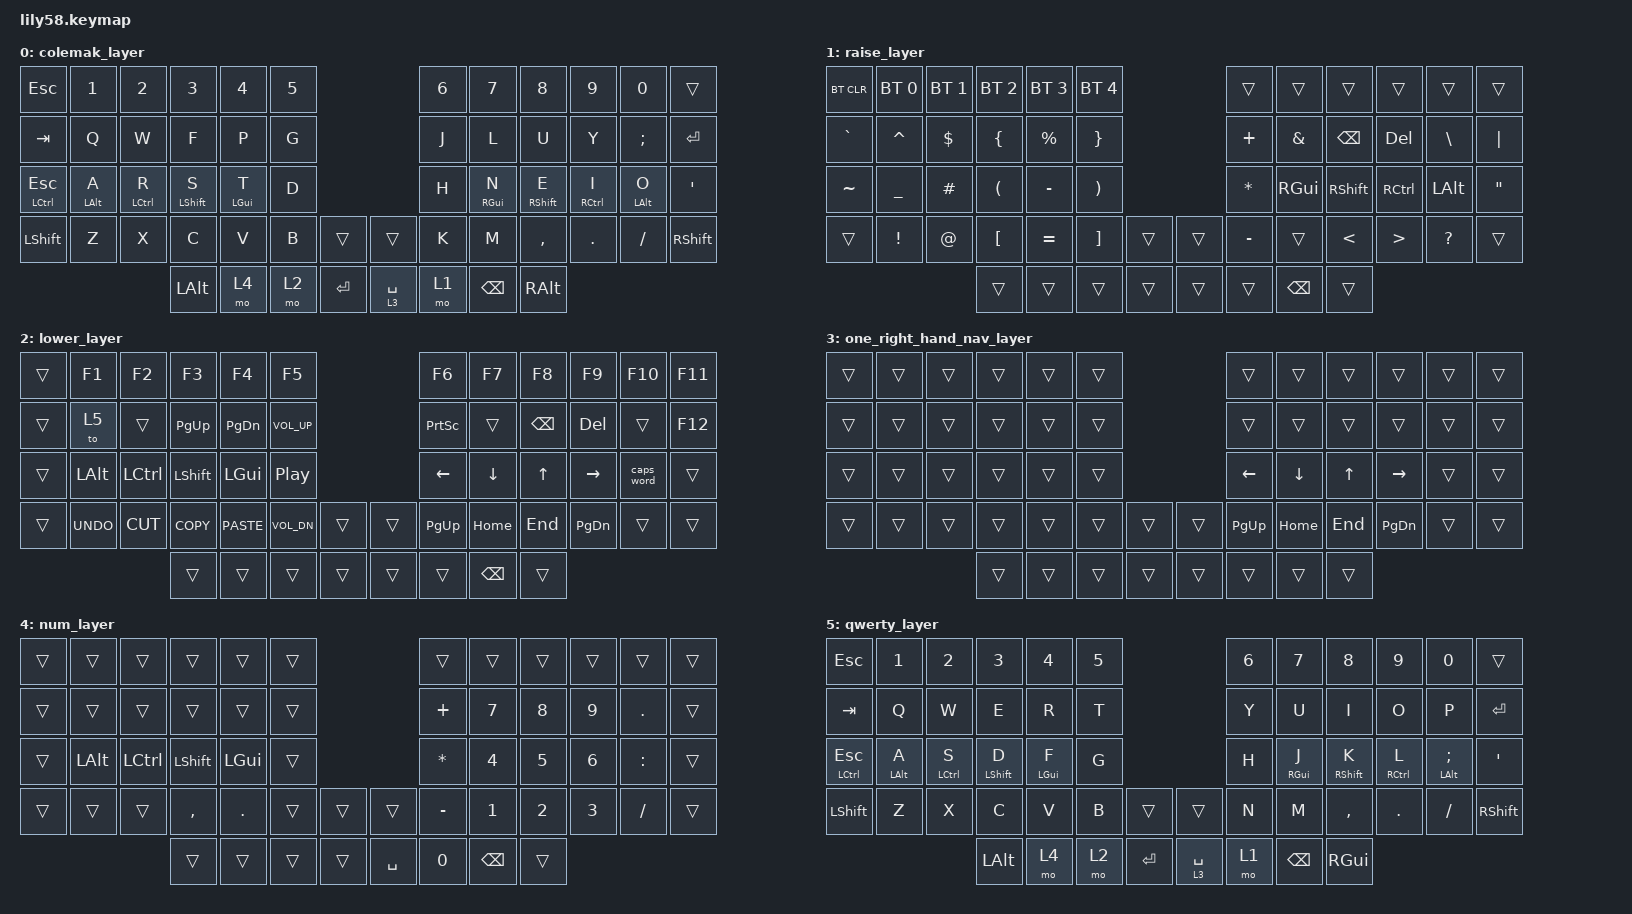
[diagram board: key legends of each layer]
/*
 * Copyright (c) 2020 The ZMK Contributors
 *
 * SPDX-License-Identifier: MIT
 */

#include <behaviors.dtsi>
#include <dt-bindings/zmk/keys.h>
#include <dt-bindings/zmk/bt.h>
#include <dt-bindings/zmk/ext_power.h>

/ {
    combos {
        compatible = "zmk,combos";
        combo_esc {
            timeout-ms = <50>;
            key-positions = <31 32>;  // <J K>
            bindings = <&kp ESC>;
        };
    };
};

/ {
    behaviors {
        hm: balanced_homerow_mods {
            compatible = "zmk,behavior-hold-tap";
            label = "HOMEROW_MODS";
            #binding-cells = <2>;
            tapping-term-ms = <200>;    // <---[[moderate duration]]
            quick-tap-ms = <200>;
            flavor = "balanced";
            bindings = <&kp>, <&kp>;
        };
    };
	keymap {
		compatible = "zmk,keymap";

		colemak_layer {
// ------------------------------------------------------------------------------------------------------------
// |  ESC  |  1  |  2  |  3   |  4   |  5   |                   |  6   |  7    |  8    |  9   |   0   |   `   |
// |  TAB  |  Q  |  W  |  F   |  P   |  G   |                   |  J   |  L    |  U    |  Y   |   ;   |   -   |
// |  CAPS |  A  |  R  |  S   |  T   |  D   |                   |  H   |  N    |  E    |  I   |   O   |   '   |
// | SHIFT |  Z  |  X  |  C   |  V   |  B   |   "["  |  |  "]"  |  K   |  M    |  ,    |  .   |   /   | SHIFT |
//                     | GUI  | ALT  | LOWER|  ENTER |  | SPACE | RAISE| BSPC  | GUI   |

			bindings = <
&kp ESC      &kp N1     &kp N2     &kp N3      &kp N4     &kp N5                   &kp N6 &kp N7     &kp N8      &kp N9     &kp N0        &trans
&kp TAB      &kp Q      &kp W      &kp F       &kp P      &kp G                    &kp J  &kp L      &kp U       &kp Y      &kp SEMI      &kp RET
&mt LCTL ESC &hm LALT A &hm LCTL R &hm LSHFT S &hm LGUI T &kp D                    &kp H  &hm RGUI N &hm RSHFT E &hm RCTL I &hm LALT O    &kp SQT
&kp LSHFT    &kp Z      &kp X      &kp C       &kp V      &kp B &trans   &trans    &kp K  &kp M      &kp COMMA   &kp DOT    &kp FSLH      &kp RSHFT
                                   &kp LALT    &mo 4   &mo 2 &kp ENTER &lt 3 SPACE &mo 1  &kp BSPC   &kp RALT
			>;
		};

// symbols layer
		raise_layer {
			bindings = <
&bt BT_CLR &bt BT_SEL 0   &bt BT_SEL 1  &bt BT_SEL 2  &bt BT_SEL 3 &bt BT_SEL 4 &trans    &trans   &trans &trans &trans &trans
&kp GRAVE  &kp CARET  &kp DOLLAR  &kp LBRC  &kp PRCNT  &kp RBRC                 &kp PLUS  &kp AMPS &kp BSPC  &kp DEL  &kp BSLH  &kp PIPE
&kp TILDE  &kp UNDER  &kp HASH    &kp LPAR  &kp MINUS  &kp RPAR                 &kp STAR  &kp RGUI &kp RSHFT &kp RCTL &kp LALT  &kp DQT
&trans     &kp EXCL   &kp AT      &kp LBKT  &kp EQUAL  &kp RBKT  &trans &trans  &kp MINUS &trans   &kp LT    &kp GT   &kp QMARK &trans
                                  &trans    &trans     &trans    &trans &trans  &trans    &kp BSPC &trans
			>;
		};

// nav layer
		lower_layer {
			bindings = <
&trans &kp F1     &kp F2    &kp F3     &kp F4      &kp F5                         &kp F6    &kp F7    &kp F8    &kp F9    &kp F10    &kp F11
&trans &to 5      &trans    &kp PG_UP  &kp PG_DN   &kp C_VOL_UP                   &kp PSCRN &trans    &kp BSPC  &kp DEL   &trans     &kp F12
&trans &kp LALT   &kp LCTL  &kp LSHFT  &kp LGUI    &kp C_PLAY_PAUSE               &kp LEFT  &kp DOWN  &kp UP    &kp RIGHT &caps_word &trans
&trans &kp K_UNDO &kp K_CUT &kp K_COPY &kp K_PASTE &kp C_VOL_DN     &trans &trans &kp PG_UP &kp HOME  &kp END   &kp PG_DN &trans     &trans
                            &trans     &trans      &trans &trans    &trans &trans    &kp BSPC  &trans
			>;
		};

		one_right_hand_nav_layer {
			bindings = <
&trans &trans &trans &trans &trans &trans                &trans    &trans   &trans  &trans    &trans &trans
&trans &trans &trans &trans &trans &trans                &trans    &trans   &trans  &trans    &trans &trans
&trans &trans &trans &trans &trans &trans                &kp LEFT  &kp DOWN &kp UP  &kp RIGHT &trans &trans
&trans &trans &trans &trans &trans &trans  &trans &trans &kp PG_UP &kp HOME &kp END &kp PG_DN &trans &trans
                     &trans &trans &trans  &trans &trans &trans    &trans   &trans
			>;

		};

		num_layer {
			bindings = <
&trans &trans   &trans   &trans    &trans   &trans                   &trans    &trans   &trans &trans &trans &trans
&trans &trans   &trans   &trans    &trans   &trans                   &kp PLUS  &kp N7   &kp N8 &kp N9 &kp DOT   &trans
&trans &kp LALT &kp LCTL &kp LSHFT &kp LGUI &trans                   &kp STAR  &kp N4   &kp N5 &kp N6 &kp COLON &trans
&trans &trans   &trans   &kp COMMA &kp DOT  &trans  &trans &trans    &kp MINUS &kp N1   &kp N2 &kp N3 &kp FSLH  &trans
                         &trans    &trans   &trans  &trans &kp SPACE &kp N0    &kp BSPC &trans
// TODO same finger bigram if followed by enter
			>;
		};

		qwerty_layer {
// ------------------------------------------------------------------------------------------------------------
// |  ESC  |  1  |  2  |  3   |  4   |  5   |                   |  6   |  7    |  8    |  9   |   0   |   `   |
// |  TAB  |  Q  |  W  |  E   |  R   |  T   |                   |  Y   |  U    |  I    |  O   |   P   |   -   |
// |  CAPS |  A  |  S  |  D   |  F   |  G   |                   |  H   |  J    |  K    |  L   |   ;   |   '   |
// | SHIFT |  Z  |  X  |  C   |  V   |  B   |   "["  |  |  "]"  |  N   |  M    |  ,    |  .   |   /   | SHIFT |
//                     | GUI  | ALT  | LOWER|  ENTER |  | SPACE | RAISE| BSPC  | GUI   |

			bindings = <
&kp ESC      &kp N1     &kp N2     &kp N3      &kp N4     &kp N5                   &kp N6 &kp N7     &kp N8      &kp N9     &kp N0        &trans
&kp TAB      &kp Q      &kp W      &kp E       &kp R      &kp T                    &kp Y  &kp U      &kp I       &kp O      &kp P         &kp RET
&mt LCTL ESC &hm LALT A &hm LCTL S &hm LSHFT D &hm LGUI F &kp G                    &kp H  &hm RGUI J &hm RSHFT K &hm RCTL L &hm LALT SEMI &kp SQT
&kp LSHFT    &kp Z      &kp X      &kp C       &kp V      &kp B &trans   &trans    &kp N  &kp M      &kp COMMA   &kp DOT    &kp FSLH      &kp RSHFT
                                   &kp LALT    &mo 4   &mo 2 &kp ENTER &lt 3 SPACE &mo 1  &kp BSPC   &kp RGUI
			>;
		};


	};
};
